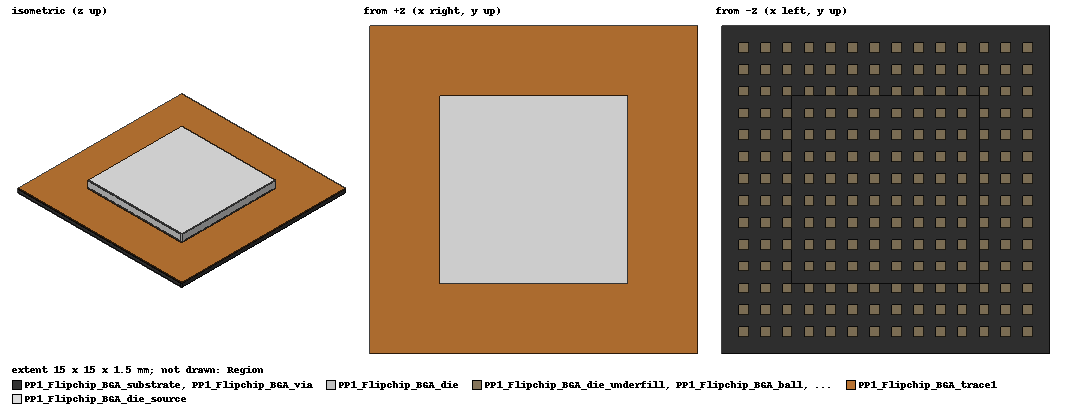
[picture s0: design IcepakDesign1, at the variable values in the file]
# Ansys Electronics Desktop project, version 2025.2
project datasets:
  $Cu_Pure_35: (-273.15, 0.49118388) (-196.15, 0.49118388) (99.85, 1) (726.85, 1)
  $Si_Typical_5: (-273.15, 0.23376623) (-196.15, 0.23376623) (99.85, 1) (726.85, 1)
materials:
  Al-Extruded: thermal_conductivity=205 mass_density=2800 specific_heat=900 youngs_modulus=69000000000 poissons_ratio=0.33 thermal_expansion_coefficient=2.277e-06 thermal_material_type=Solid
  air: permittivity=1.0006 permeability=1.0000004 thermal_conductivity=0.0261 mass_density=1.1614 specific_heat=1005 thermal_expansion_coefficient=0.00333 thermal_material_type=Fluid diffusivity=2.88e-05 molecular_mass=0.028966 viscosity=1.84e-05 material_refractive_index=1.000293
  Substrate_material: thermal_conductivity=0.35 mass_density=1900 specific_heat=795 thermal_material_type=Solid
  Cu-Pure: thermal_modifier{Property=specific_heat free_form_value=pwl($Cu_Pure_35,Temp)} thermal_conductivity=387.6 mass_density=8933 specific_heat=397 thermal_material_type=Solid
  Solder-pb50_sn50: thermal_conductivity=46 mass_density=8890 specific_heat=213 thermal_material_type=Solid
  Si-Typical: thermal_modifier{Property=specific_heat free_form_value=pwl($Si_Typical_5,Temp)} thermal_conductivity=180 mass_density=2330 specific_heat=770 thermal_material_type=Solid
  Flipchip_underfill: thermal_conductivity=0.8 mass_density=1210 specific_heat=1172 thermal_material_type=Solid
  PP1_Flipchip_BGA_trace1_material: thermal_conductivity=213.3375 mass_density=5768.15 specific_heat=576.1
  PP1_Flipchip_BGA_substrate_material: thermal_conductivity{anisotropic component1=0.35 component2=0.35 component3=0.35} mass_density=1900 specific_heat=795
  PP1_Flipchip_BGA_via_material: thermal_conductivity{anisotropic component1=0.35 component2=0.35 component3=0.35} mass_density=1900 specific_heat=795
  PP1_Flipchip_BGA_underfill_material: thermal_conductivity{anisotropic component1=0.8 component2=0.8 component3=0.80949592} mass_density=1211.6135 specific_heat=1171.7985
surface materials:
  Steel-oxidised-surface: surface_emissivity=0.8

design IcepakDesign1 (Icepak, SteadyState TemperatureAndFlow, model units mm)
options: Default_Fluid_Material=air Default_Solid_Material=Al-Extruded Default_Surface_Material=Steel-oxidised-surface AmbientTemperature=20cel AmbientPressure=0n_per_meter_sq AmbientRadiationTemperature=20cel Gravity_Vector_CS_ID=Global Gravity_Vector_Axis=Z Positive=false Altitude=0meter OperatingPressure=101325n_per_meter_sq OperatingDensity=1.225kg_per_m3
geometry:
  Region [air] = region(percentage_offset=50 on all sides)
  PP1_Flipchip_BGA_die [Si-Typical] = box(corner=(0.0mm+ 0.5*15.0mm-0.5*8.56mm, 0.0mm+ 0.5*15.0mm-0.5*8.56mm, 0.0mm+0.5mm+0.36mm+0.01mm), size=(8.56mm, 8.56mm, 1.6mm-0.5mm-0.36mm-0.01mm-0.1mm))
  PP1_Flipchip_BGA_die_source [Si-Typical] = rectangle(corner=(0.0mm+ 0.5*15.0mm-0.5*8.56mm, 0.0mm+ 0.5*15.0mm-0.5*8.56mm, 0.0mm+0.5mm+0.36mm+0.01mm+1.6mm-0.5mm-0.36mm-0.01mm-0.1mm), x_size=8.56mm, y_size=8.56mm)
  PP1_Flipchip_BGA_die_underfill [PP1_Flipchip_BGA_underfill_material] = box(corner=(0.0mm+ 0.5*15.0mm-0.5*8.56mm, 0.0mm+ 0.5*15.0mm-0.5*8.56mm, 0.0mm+0.5mm+0.36mm), size=(8.56mm, 8.56mm, 0.01mm))
  PP1_Flipchip_BGA_substrate [PP1_Flipchip_BGA_substrate_material] = box(corner=(0mm, 0mm, 0.0mm+0.5mm+0.36mm-0.36mm), size=(15mm, 15mm, 0.36mm))
  PP1_Flipchip_BGA_via [PP1_Flipchip_BGA_via_material] = box(corner=(0.0mm+ 0.5*15.0mm-0.5*8.56mm, 0.0mm+ 0.5*15.0mm-0.5*8.56mm, 0.0mm+0.5mm+0.36mm-1*0.36mm), size=(8.56mm, 8.56mm, 0.36mm))
  PP1_Flipchip_BGA_trace1 [PP1_Flipchip_BGA_trace1_material] = rectangle(corner=(0mm, 0mm, 0.0mm+0.5mm+0.36mm), x_size=15mm, y_size=15mm)
  PP1_Flipchip_BGA_ball [Solder-pb50_sn50] = box(corner=(0.0mm+(0.5*(15.0mm-((1.0mm*14)-(1.0mm-0.443113462726mm)))), 0.0mm+(0.5*(15.0mm-((1.0mm*14)-(1.0mm-0.443113462726mm)))), 0mm), size=(0.44311346mm, 0.44311346mm, 0.5mm))
  PP1_Flipchip_BGA_ball_1..PP1_Flipchip_BGA_ball_13 [Solder-pb50_sn50] = PP1_Flipchip_BGA_ball.duplicate_along_line(step=(1mm, 0mm, 0mm), total=14)
  PP1_Flipchip_BGA_ball_14..PP1_Flipchip_BGA_ball_26 [Solder-pb50_sn50] = PP1_Flipchip_BGA_ball.duplicate_along_line(step=(0mm, 1mm, 0mm), total=14)
  PP1_Flipchip_BGA_ball_1_1..PP1_Flipchip_BGA_ball_1_13 [Solder-pb50_sn50] = PP1_Flipchip_BGA_ball_1.duplicate_along_line(step=(0mm, 1mm, 0mm), total=14)
  PP1_Flipchip_BGA_ball_2_1..PP1_Flipchip_BGA_ball_2_13 [Solder-pb50_sn50] = PP1_Flipchip_BGA_ball_2.duplicate_along_line(step=(0mm, 1mm, 0mm), total=14)
  PP1_Flipchip_BGA_ball_3_1..PP1_Flipchip_BGA_ball_3_13 [Solder-pb50_sn50] = PP1_Flipchip_BGA_ball_3.duplicate_along_line(step=(0mm, 1mm, 0mm), total=14)
  PP1_Flipchip_BGA_ball_4_1..PP1_Flipchip_BGA_ball_4_13 [Solder-pb50_sn50] = PP1_Flipchip_BGA_ball_4.duplicate_along_line(step=(0mm, 1mm, 0mm), total=14)
  PP1_Flipchip_BGA_ball_5_1..PP1_Flipchip_BGA_ball_5_13 [Solder-pb50_sn50] = PP1_Flipchip_BGA_ball_5.duplicate_along_line(step=(0mm, 1mm, 0mm), total=14)
  PP1_Flipchip_BGA_ball_6_1..PP1_Flipchip_BGA_ball_6_13 [Solder-pb50_sn50] = PP1_Flipchip_BGA_ball_6.duplicate_along_line(step=(0mm, 1mm, 0mm), total=14)
  PP1_Flipchip_BGA_ball_7_1..PP1_Flipchip_BGA_ball_7_13 [Solder-pb50_sn50] = PP1_Flipchip_BGA_ball_7.duplicate_along_line(step=(0mm, 1mm, 0mm), total=14)
  PP1_Flipchip_BGA_ball_8_1..PP1_Flipchip_BGA_ball_8_13 [Solder-pb50_sn50] = PP1_Flipchip_BGA_ball_8.duplicate_along_line(step=(0mm, 1mm, 0mm), total=14)
  PP1_Flipchip_BGA_ball_9_1..PP1_Flipchip_BGA_ball_9_13 [Solder-pb50_sn50] = PP1_Flipchip_BGA_ball_9.duplicate_along_line(step=(0mm, 1mm, 0mm), total=14)
  PP1_Flipchip_BGA_ball_10_1..PP1_Flipchip_BGA_ball_10_13 [Solder-pb50_sn50] = PP1_Flipchip_BGA_ball_10.duplicate_along_line(step=(0mm, 1mm, 0mm), total=14)
  PP1_Flipchip_BGA_ball_11_1..PP1_Flipchip_BGA_ball_11_13 [Solder-pb50_sn50] = PP1_Flipchip_BGA_ball_11.duplicate_along_line(step=(0mm, 1mm, 0mm), total=14)
  PP1_Flipchip_BGA_ball_12_1..PP1_Flipchip_BGA_ball_12_13 [Solder-pb50_sn50] = PP1_Flipchip_BGA_ball_12.duplicate_along_line(step=(0mm, 1mm, 0mm), total=14)
  PP1_Flipchip_BGA_ball_13_1..PP1_Flipchip_BGA_ball_13_13 [Solder-pb50_sn50] = PP1_Flipchip_BGA_ball_13.duplicate_along_line(step=(0mm, 1mm, 0mm), total=14)
  SubRegion [air, non-model] = sub_region(of=PP1_Flipchip_BGA_die_underfill, percentage_offset=0 on all sides)
  group PP1_Flipchip_BGA_Group = PP1_Flipchip_BGA_die, PP1_Flipchip_BGA_die_source, PP1_Flipchip_BGA_die_underfill, PP1_Flipchip_BGA_substrate, PP1_Flipchip_BGA_via, PP1_Flipchip_BGA_trace1
  group PP1_Flipchip_BGA_ball_Group = PP1_Flipchip_BGA_ball, PP1_Flipchip_BGA_ball_1..PP1_Flipchip_BGA_ball_26, PP1_Flipchip_BGA_ball_1_1..PP1_Flipchip_BGA_ball_1_13, PP1_Flipchip_BGA_ball_2_1..PP1_Flipchip_BGA_ball_2_13, PP1_Flipchip_BGA_ball_3_1..PP1_Flipchip_BGA_ball_3_13, PP1_Flipchip_BGA_ball_4_1..PP1_Flipchip_BGA_ball_4_13, PP1_Flipchip_BGA_ball_5_1..PP1_Flipchip_BGA_ball_5_13, PP1_Flipchip_BGA_ball_6_1..PP1_Flipchip_BGA_ball_6_13, PP1_Flipchip_BGA_ball_7_1..PP1_Flipchip_BGA_ball_7_13, PP1_Flipchip_BGA_ball_8_1..PP1_Flipchip_BGA_ball_8_13, PP1_Flipchip_BGA_ball_9_1..PP1_Flipchip_BGA_ball_9_13, PP1_Flipchip_BGA_ball_10_1..PP1_Flipchip_BGA_ball_10_13, PP1_Flipchip_BGA_ball_11_1..PP1_Flipchip_BGA_ball_11_13, PP1_Flipchip_BGA_ball_12_1..PP1_Flipchip_BGA_ball_12_13, PP1_Flipchip_BGA_ball_13_1..PP1_Flipchip_BGA_ball_13_13
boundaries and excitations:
  PP1_Flipchip_BGA_die_source: Source Objects=PP1_Flipchip_BGA_die_source Thermal_Condition="Total Power" Total_Power=1W
  Substrate: Source Objects=PP1_Flipchip_BGA_substrate Thermal_Condition="Fixed Temperature" Temperature=AmbientTemp
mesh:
  Global:  MeshMethod=MesherHD ComputeGap MeshRegionResolution=3 MinGapX=1mm MinGapY=1mm MinGapZ=1mm Objects=Region FacetLevel=3 ProximitySizeFunction CurvatureSizeFunction OptimizePCBMesh
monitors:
  PP1_Flipchip_BGA_substrate: Quantities(19) Objects=PP1_Flipchip_BGA_substrate
  PP1_Flipchip_BGA_die_underfill: Quantities(19) Objects=PP1_Flipchip_BGA_die_underfill
  PP1_Flipchip_BGA_die: Quantities(19) Objects=PP1_Flipchip_BGA_die
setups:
  Setup1: IcepakSteadyState Flow_Regime=Laminar Include_Temperature=true Include_Flow=true Convergence_Criteria_-_Flow=0.001 Convergence_Criteria_-_Energy=1e-07 GPU_Convergence_Criteria_-_Flow=0.001 GPU_Convergence_Criteria_-_Energy=1e-05 disabled Radiation_Model=Off Under-relaxation_-_Pressure=0.3 Under-relaxation_-_Momentum=0.7 Under-relaxation_-_Temperature=1 Under-relaxation_-_Body_Force=1 Discretization_Scheme_-_Pressure=Standard Discretization_Scheme_-_Momentum=First Discretization_Scheme_-_Temperature=First Convergence_Criteria_-_Max_Iterations=100
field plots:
  Temperature1: Temperature on Setup1 : SteadyState
